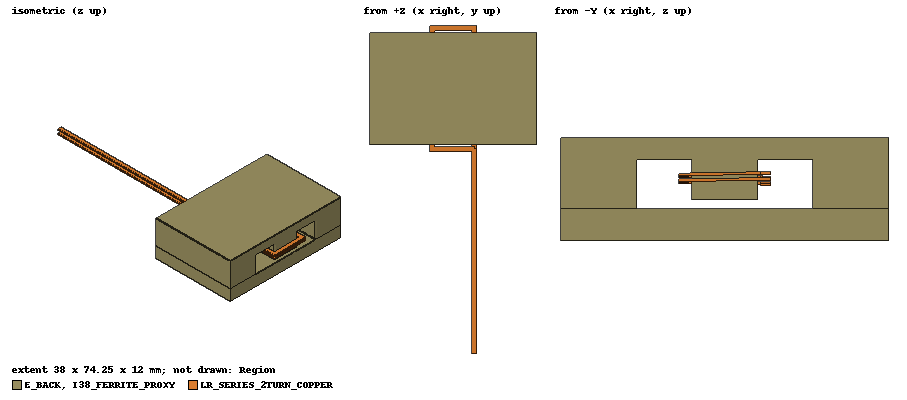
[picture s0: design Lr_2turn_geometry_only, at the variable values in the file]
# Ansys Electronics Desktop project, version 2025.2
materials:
  vacuum: permittivity=1
  ferrite: permittivity=12 permeability=1000 conductivity=0.01
  copper: permeability=0.999991 conductivity=58000000

design Lr_2turn_geometry_only (Maxwell 3D, Magnetostatic, model units mm)
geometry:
  I38_FERRITE_PROXY [ferrite] = box(corner=(-19mm, -12.7mm, 0mm), size=(38mm, 25.4mm, 3.75mm))
  E_BACK [ferrite] = box(corner=(-19mm, -12.7mm, 9.4mm), size=(38mm, 25.4mm, 2.6mm))
  E_LEFT = box(corner=(-19mm, -12.7mm, 3.75mm), size=(8.83mm, 25.4mm, 5.65mm))
  E_RIGHT = box(corner=(10.17mm, -12.7mm, 3.75mm), size=(8.83mm, 25.4mm, 5.65mm))
  E_CENTRE = box(corner=(-3.82mm, -12.7mm, 4.781mm), size=(7.64mm, 25.4mm, 4.619mm))
  E_BACK.unite(E_LEFT, E_RIGHT, E_CENTRE)
  LR_SERIES_2TURN_COPPER [copper] = polyline(xyz in mm: (4.77, -13.65, 6.5) (4.77, 13.65, 6.67) (-4.77, 13.65, 6.84) (-4.77, -13.65, 7.01) (4.77, -13.65, 7.18) (4.77, 13.65, 7.35) (-4.77, 13.65, 7.52) (-4.77, -13.65, 7.69) (4.77, -13.65, 7.86), section rectangle width=1.2mm height=0.3mm)
  LR_EXTERNAL_LEAD_1 = box(corner=(4.17mm, -60mm, 6.35mm), size=(1.2mm, 46.45mm, 0.3mm))
  LR_EXTERNAL_LEAD_2 = box(corner=(4.17mm, -60mm, 7.71mm), size=(1.2mm, 46.45mm, 0.3mm))
  LR_SERIES_2TURN_COPPER.unite(LR_EXTERNAL_LEAD_1, LR_EXTERNAL_LEAD_2)
  Region [vacuum] = box(corner=(-60mm, -60mm, -50mm), size=(120mm, 120mm, 100mm))
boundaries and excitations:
  LR_1A_IN: Current Faces=LR_SERIES_2TURN_COPPER.face(at (4.77, -60, 6.5)) Current=1A IsSolid=true Point_out_of_terminal=false
  LR_1A_OUT: Current Faces=LR_SERIES_2TURN_COPPER.face(at (4.77, -60, 7.86)) Current=1A IsSolid=true Point_out_of_terminal=true
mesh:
  initial mesh: GlobalCurvilinear{Apply}
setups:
  Setup1: Magnetostatic MaximumPasses=10 MinimumPasses=2 MinimumConvergedPasses=2 PercentRefinement=25 PercentError=3 NonLinearResidual=0.001
